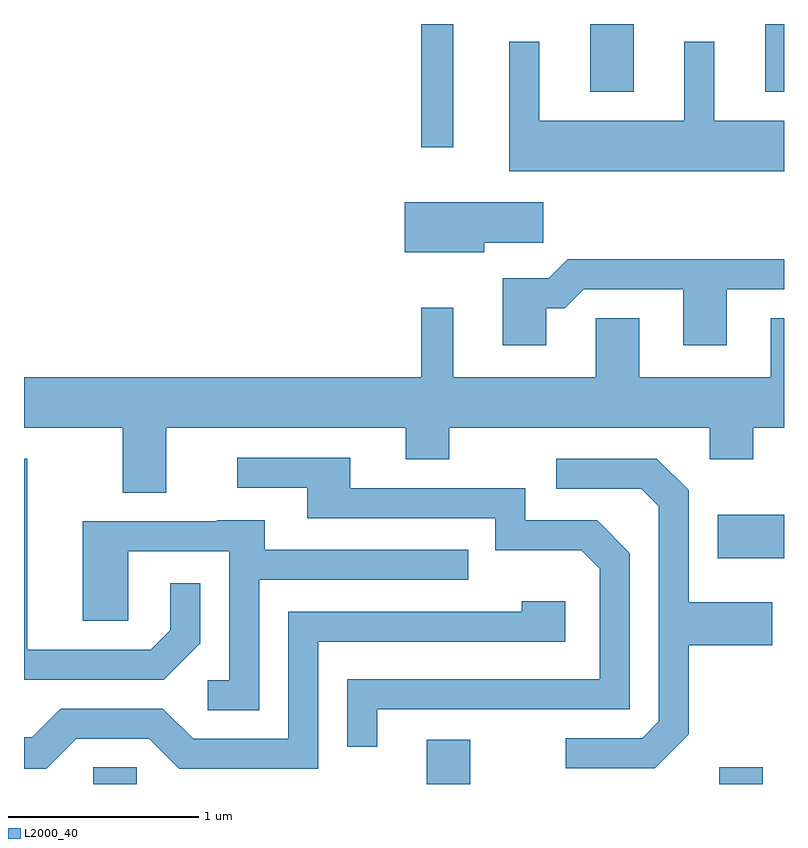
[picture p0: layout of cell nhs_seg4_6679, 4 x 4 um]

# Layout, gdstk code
import gdstk
lib = gdstk.Library(unit=1e-6, precision=1e-09)
def R(c, l, rs):  # rectangles x0, y0, x1, y1
    for r in rs: c.add(gdstk.rectangle(r[:2], r[2:], *l))
def P(c, l, *ps):  # polygons
    for p in ps: c.add(gdstk.Polygon(p, *l))
L2000_40 = (2000, 40)

nhs_seg4_6679 = lib.new_cell('nhs_seg4_6679')
R(nhs_seg4_6679, L2000_40, [(381.976,1283.982,382.204,1284.069), (383.731,1283.982,383.959,1284.214), (385.271,1283.982,385.499,1284.069), (385.261,1285.171,385.611,1285.399), (383.701,1287.333,383.869,1287.982), (384.591,1287.626,384.819,1287.982), (385.511,1287.626,385.611,1287.982)])
P(nhs_seg4_6679, L2000_40, [(385.611,1287.474),(385.244,1287.474),(385.244,1287.888),(385.086,1287.888),(385.086,1287.474),(384.324,1287.474),(384.324,1287.888),(384.166,1287.888),(384.166,1287.206),(385.611,1287.206)],
  [(384.034,1286.831),(384.344,1286.831),(384.344,1287.044),(383.616,1287.044),(383.616,1286.781),(384.034,1286.781)],
  [(384.359,1286.486),(384.457,1286.486),(384.557,1286.586),(385.081,1286.586),(385.081,1286.291),(385.309,1286.291),(385.309,1286.586),(385.611,1286.586),(385.611,1286.744),(384.474,1286.744),(384.374,1286.644),(384.131,1286.644),(384.131,1286.291),(384.359,1286.291)],
  [(382.359,1285.856),(383.621,1285.856),(383.621,1285.691),(383.849,1285.691),(383.849,1285.856),(385.221,1285.856),(385.221,1285.691),(385.449,1285.691),(385.449,1285.856),(385.611,1285.856),(385.611,1286.434),(385.541,1286.434),(385.541,1286.124),(384.849,1286.124),(384.849,1286.434),(384.621,1286.434),(384.621,1286.124),(383.869,1286.124),(383.869,1286.488),(383.701,1286.488),(383.701,1286.124),(381.611,1286.124),(381.611,1285.856),(382.131,1285.856),(382.131,1285.516),(382.359,1285.516)],
  [(383.469,1284.376),(384.799,1284.376),(384.799,1285.197),(384.627,1285.369),(384.249,1285.369),(384.249,1285.539),(383.329,1285.539),(383.329,1285.699),(382.733,1285.699),(382.733,1285.541),(383.101,1285.541),(383.101,1285.381),(384.091,1285.381),(384.091,1285.211),(384.544,1285.211),(384.641,1285.114),(384.641,1284.534),(383.311,1284.534),(383.311,1284.178),(383.469,1284.178)],
  [(385.109,1284.244),(385.109,1284.711),(385.549,1284.711),(385.549,1284.939),(385.109,1284.939),(385.109,1285.527),(384.942,1285.694),(384.413,1285.694),(384.413,1285.536),(384.859,1285.536),(384.951,1285.444),(384.951,1284.312),(384.864,1284.224),(384.463,1284.224),(384.463,1284.066),(384.932,1284.066)],
  [(382.539,1284.724),(382.539,1285.038),(382.381,1285.038),(382.381,1284.792),(382.279,1284.689),(381.629,1284.689),(381.629,1285.694),(381.611,1285.694),(381.611,1284.531),(382.347,1284.531)],
  [(382.849,1285.056),(383.948,1285.056),(383.948,1285.214),(382.879,1285.214),(382.879,1285.369),(382.625,1285.369),(382.625,1285.364),(381.921,1285.364),(381.921,1284.841),(382.159,1284.841),(382.159,1285.206),(382.691,1285.206),(382.691,1284.529),(382.578,1284.529),(382.578,1284.371),(382.849,1284.371)],
  [(381.887,1284.221),(382.269,1284.221),(382.429,1284.061),(383.159,1284.061),(383.159,1284.731),(384.459,1284.731),(384.459,1284.944),(384.231,1284.944),(384.231,1284.889),(383.001,1284.889),(383.001,1284.219),(382.502,1284.219),(382.342,1284.379),(381.804,1284.379),(381.654,1284.229),(381.611,1284.229),(381.611,1284.061),(381.727,1284.061)])

lib.write_gds('nhs_seg4_6679.gds')
